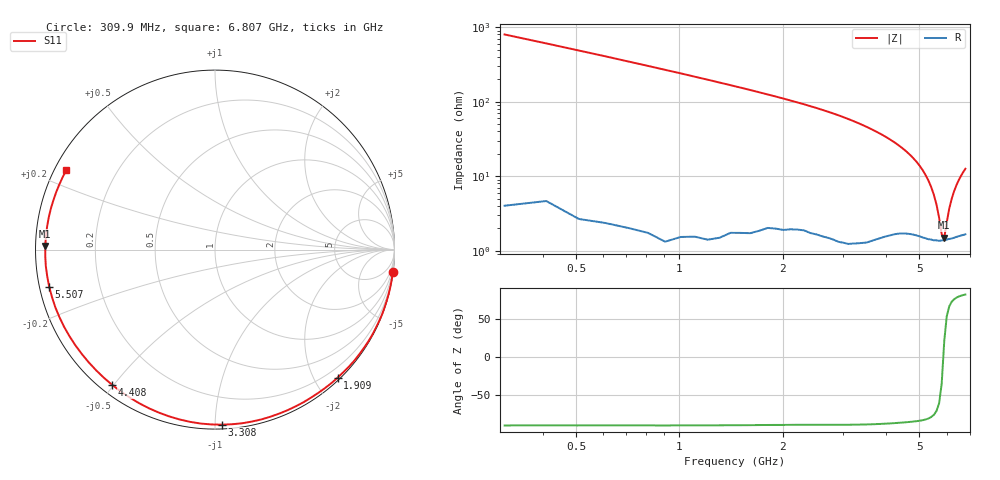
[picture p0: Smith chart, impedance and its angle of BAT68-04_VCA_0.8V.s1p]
! Infineon Technologies  Discrete & RF Semiconductors
! BAT68-04
! VCA = 0.8 V
! One-Port S-Parameters
# Hz  S  MA  R  50
!f  S11
!Hz  Mag  Ang
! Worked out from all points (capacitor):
!   66 points, 309.9 MHz to 6.807 GHz, reference 50 ohm
!   read as one part to ground: C = 639 fF near 309.9 MHz
!   lowest |Z| = 1.49 ohm at 5.907 GHz (marker M1)
!   series resonance near 5.871 GHz, so ESL is about 1.2 nH
!   S11 on the Smith chart (normalised r, x): 309.9 MHz: 0, -16; 1.909 GHz: 0.04, -2.35; 3.308 GHz: 0.03, -1.04; 4.408 GHz: 0.03, -0.50; 5.507 GHz: 0.03, -0.11; 6.807 GHz: 0.03, +0.25
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3.0985e8  0.9994 -7.2
6.097e8  0.9986 -14.1
8.096e8  0.9981 -18.8
1.2094e9  0.9966 -28.4
1.6092e9  0.9926 -38.4
1.90905e9  0.9879 -46.2
2.009e9  0.9871 -48.8
2.30885e9  0.9831 -56.9
2.50875e9  0.9823 -62.5
2.8086e9  0.9809 -71.5
3.10845e9  0.9793 -81.1
3.30835e9  0.9761 -87.8
3.6082e9  0.9697 -98.2
3.8081e9  0.9638 -105.4
4.008e9  0.9576 -112.6
4.2079e9  0.9515 -119.9
4.4078e9  0.9466 -127.2
4.6077e9  0.9438 -134.5
4.8076e9  0.9428 -141.9
5.0075e9  0.9435 -149.2
5.2074e9  0.945 -156.6
5.50725e9  0.9467 -167.4
5.70715e9  0.947 -174.5
5.90705e9  0.9458 178.8
6.007e9  0.945 175.5
6.2069e9  0.9436 169.2
6.4068e9  0.9416 163.2
6.8066e9  0.9392 151.9
